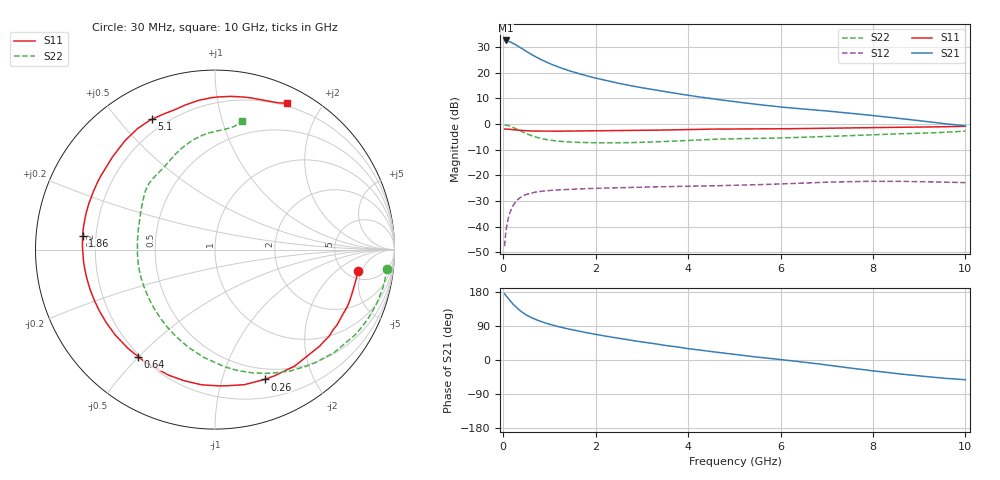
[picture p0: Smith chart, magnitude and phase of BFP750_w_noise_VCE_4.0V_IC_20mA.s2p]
! Infineon Technologies  Discrete & RF Semiconductors
! BFP750
! VCE =  4.0 V,  IC =  20 mA
! Common Emitter S-Parameters:  Jan 2016
# GHz  S  MA  R  50
!  f  S11  S21  S12  S22
! GHz  MAG  ANG  MAG  ANG  MAG  ANG  MAG  ANG
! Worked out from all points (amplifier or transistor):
!   229 points, 30 MHz to 10 GHz, reference 50 ohm
!   highest |S21| = 32.6 dB at 50 MHz (marker M1)
!   |S21| within 3 dB of that: start of sweep to 388.3 MHz
!   unconditionally stable (mu >= 1): 4.806 GHz to end of sweep
!   at 280 MHz: K = 0.13, MSG = 30.4 dB, |S12| = -30.0 dB
!   at 1.78 GHz: K = 0.51, MSG = 22.1 dB, |S12| = -25.1 dB
!   at 10 GHz: K = 1.08, MAG = 9.3 dB, |S12| = -22.8 dB
!   lowest NFmin = 0.73 dB at 450 MHz
!   S11 on the Smith chart (normalised r, x): 30 MHz: 6.21, -4.26; 260 MHz: 0.38, -1.38; 640 MHz: 0.19, -0.50; 1.86 GHz: 0.15, +0.05; 5.1 GHz: 0.15, +0.62; 10 GHz: 0.17, +1.59
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0.03  0.8037 -8.7  42.61 174.8  0.0042 70.0  0.9631 -6.3
0.05  0.8017 -14.7  42.68 171.1  0.007 74.0  0.9614 -10.6
0.08  0.8026 -23.5  42.17 166.9  0.0109 72.6  0.9519 -17.1
0.15  0.7933 -42.7  40.1 156.1  0.0194 65.6  0.9133 -31.5
0.2  0.7861 -55.5  38.16 149.0  0.0248 60.5  0.8766 -41.0
0.26  0.7746 -69.0  35.62 141.7  0.03 54.4  0.8273 -51.5
0.3  0.7702 -77.7  33.95 136.9  0.0331 50.9  0.7958 -58.2
0.34  0.7615 -85.1  32.18 132.9  0.0356 47.6  0.7628 -64.3
0.45  0.7504 -103.2  27.88 122.7  0.041 39.9  0.6854 -79.4
0.52  0.7421 -112.4  25.49 117.7  0.0433 36.1  0.6424 -87.4
0.64  0.734 -125.6  22.02 110.4  0.0463 30.8  0.5848 -99.8
0.8  0.7316 -139.5  18.45 102.1  0.0489 25.6  0.5317 -113.9
1  0.7291 -152.4  15.22 94.3  0.051 21.1  0.49 -127.8
1.3  0.732 -166.8  12 84.9  0.0531 16.6  0.4574 -143.9
1.7  0.7386 178.9  9.29 74.6  0.055 12.6  0.44 -160.1
1.86  0.7414 174.2  8.492 70.9  0.0556 11.3  0.4368 -165.5
2.6  0.7501 155.9  5.983 55.2  0.0579 6.7  0.4347 173.4
3.4  0.7656 139.8  4.448 40.6  0.0604 2.8  0.4557 156.6
5.1  0.8065 115.7  2.676 13.4  0.0648 -3.8  0.5224 133.5
6.8  0.8299 98.5  1.868 -10.0  0.0729 -11.5  0.5666 114.5
8.4  0.8654 79.0  1.344 -34.2  0.077 -23.7  0.6422 95.9
10  0.9084 63.9  0.929 -52.0  0.0726 -33.6  0.733 78.0
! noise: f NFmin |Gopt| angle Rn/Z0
0.45  0.73  0.04  -167  3.69
0.9  0.75  0.07  -173  0.54
1.5  0.76  0.1  -175  0.25
1.9  0.78  0.15  -172  0.1
2.4  0.82  0.16  -169  0.11
3.5  1.07  0.25  -145  0.07
